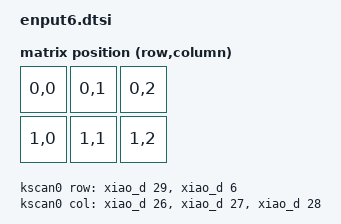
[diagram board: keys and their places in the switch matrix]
/*
 * Copyright (c) 2022 The ZMK Contributors
 *
 * SPDX-License-Identifier: MIT
 */

 #include <dt-bindings/zmk/matrix_transform.h>

 / {
   chosen {
     zmk,kscan = &kscan0;
     zmk,matrix-transform = &default_transform;
   };
 
   kscan0: kscan {
     compatible = "zmk,kscan-gpio-matrix";
     wakeup-source;
 
     diode-direction = "col2row";
 
     row-gpios
       = <&xiao_d 29 (GPIO_ACTIVE_HIGH)>
       , <&xiao_d 6 (GPIO_ACTIVE_HIGH)>
       ;
 
     col-gpios
       = <&xiao_d 26 (GPIO_ACTIVE_HIGH | GPIO_PULL_DOWN)>
       , <&xiao_d 27 (GPIO_ACTIVE_HIGH | GPIO_PULL_DOWN)>
       , <&xiao_d 28 (GPIO_ACTIVE_HIGH | GPIO_PULL_DOWN)>
       ;
   };
 
   default_transform: keymap_transform_0 {
     compatible = "zmk,matrix-transform";
     columns = <3>;
     rows = <2>;
     map = <
             RC(0,0) RC(0,1) RC(0,2)
             RC(1,0) RC(1,1) RC(1,2)
     >;
   };
 };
